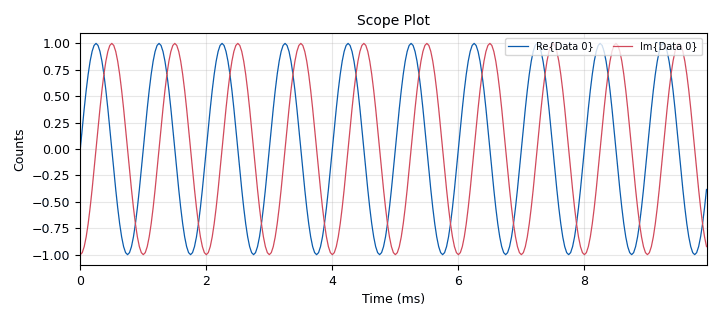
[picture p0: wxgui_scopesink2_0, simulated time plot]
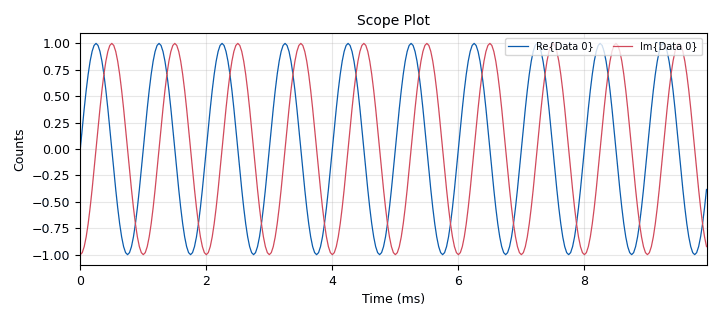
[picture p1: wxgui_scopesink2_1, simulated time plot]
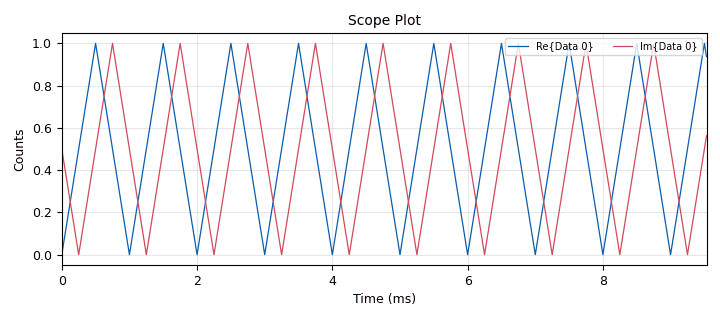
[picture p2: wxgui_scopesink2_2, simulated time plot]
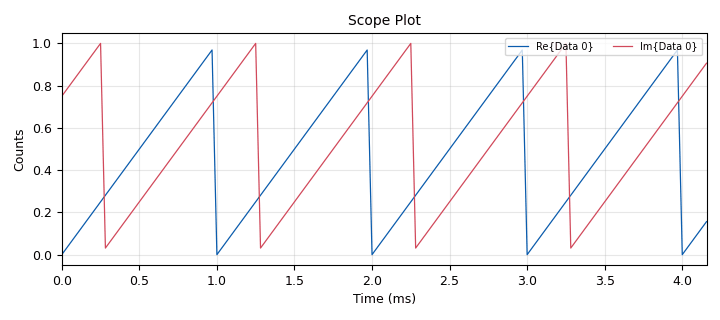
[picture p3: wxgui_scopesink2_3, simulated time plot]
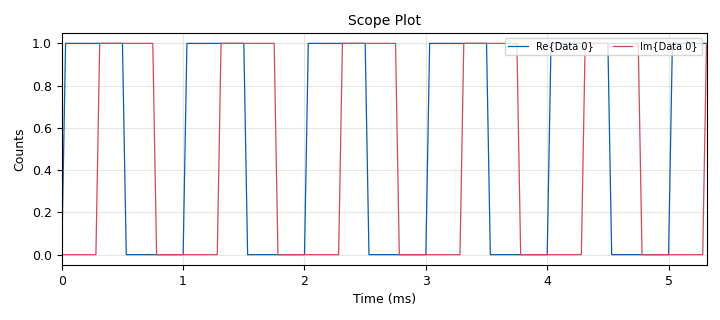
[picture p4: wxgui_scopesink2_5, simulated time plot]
<?xml version='1.0' encoding='utf-8'?>
<?grc format='1' created='3.7.10'?>
<flow_graph>
<block>
<key>options</key>
<param><key>id</key><value>top_block</value></param>
<param><key>generate_options</key><value>wx_gui</value></param>
</block>
<block>
<key>variable</key>
<param><key>id</key><value>samp_rate</value></param>
<param><key>value</key><value>32000</value></param>
</block>
<block>
<key>analog_sig_source_x</key>
<param><key>id</key><value>analog_sig_source_x_0</value></param>
<param><key>amp</key><value>1</value></param>
<param><key>freq</key><value>1000</value></param>
<param><key>offset</key><value>0</value></param>
<param><key>type</key><value>complex</value></param>
<param><key>samp_rate</key><value>samp_rate</value></param>
<param><key>waveform</key><value>analog.GR_COS_WAVE</value></param>
</block>
<block>
<key>analog_sig_source_x</key>
<param><key>id</key><value>analog_sig_source_x_1</value></param>
<param><key>amp</key><value>1</value></param>
<param><key>freq</key><value>1000</value></param>
<param><key>offset</key><value>0</value></param>
<param><key>type</key><value>complex</value></param>
<param><key>samp_rate</key><value>samp_rate</value></param>
<param><key>waveform</key><value>analog.GR_SIN_WAVE</value></param>
</block>
<block>
<key>analog_sig_source_x</key>
<param><key>id</key><value>analog_sig_source_x_2</value></param>
<param><key>amp</key><value>1</value></param>
<param><key>freq</key><value>1000</value></param>
<param><key>offset</key><value>0</value></param>
<param><key>type</key><value>complex</value></param>
<param><key>samp_rate</key><value>samp_rate</value></param>
<param><key>waveform</key><value>analog.GR_CONST_WAVE</value></param>
</block>
<block>
<key>analog_sig_source_x</key>
<param><key>id</key><value>analog_sig_source_x_3</value></param>
<param><key>amp</key><value>1</value></param>
<param><key>freq</key><value>1000</value></param>
<param><key>offset</key><value>0</value></param>
<param><key>type</key><value>complex</value></param>
<param><key>samp_rate</key><value>samp_rate</value></param>
<param><key>waveform</key><value>analog.GR_SQR_WAVE</value></param>
</block>
<block>
<key>analog_sig_source_x</key>
<param><key>id</key><value>analog_sig_source_x_4</value></param>
<param><key>amp</key><value>1</value></param>
<param><key>freq</key><value>1000</value></param>
<param><key>offset</key><value>0</value></param>
<param><key>type</key><value>complex</value></param>
<param><key>samp_rate</key><value>samp_rate</value></param>
<param><key>waveform</key><value>analog.GR_SAW_WAVE</value></param>
</block>
<block>
<key>analog_sig_source_x</key>
<param><key>id</key><value>analog_sig_source_x_5</value></param>
<param><key>amp</key><value>1</value></param>
<param><key>freq</key><value>1000</value></param>
<param><key>offset</key><value>0</value></param>
<param><key>type</key><value>complex</value></param>
<param><key>samp_rate</key><value>samp_rate</value></param>
<param><key>waveform</key><value>analog.GR_TRI_WAVE</value></param>
</block>
<block>
<key>notebook</key>
<param><key>id</key><value>notebook_0</value></param>
<param><key>labels</key><value>['tab1', 'tab2', 'tab3','tab4','tab5','tab6']</value></param>
<param><key>style</key><value>wx.NB_TOP</value></param>
</block>
<block>
<key>wxgui_scopesink2</key>
<param><key>id</key><value>wxgui_scopesink2_0</value></param>
<param><key>ac_couple</key><value>False</value></param>
<param><key>notebook</key><value>notebook_0,1</value></param>
<param><key>num_inputs</key><value>1</value></param>
<param><key>samp_rate</key><value>samp_rate</value></param>
<param><key>t_scale</key><value>0</value></param>
<param><key>title</key><value>Scope Plot</value></param>
<param><key>trig_mode</key><value>wxgui.TRIG_MODE_AUTO</value></param>
<param><key>type</key><value>complex</value></param>
<param><key>v_offset</key><value>0</value></param>
<param><key>v_scale</key><value>0</value></param>
<param><key>xy_mode</key><value>False</value></param>
<param><key>y_axis_label</key><value>Counts</value></param>
</block>
<block>
<key>wxgui_scopesink2</key>
<param><key>id</key><value>wxgui_scopesink2_1</value></param>
<param><key>ac_couple</key><value>False</value></param>
<param><key>notebook</key><value>notebook_0,0</value></param>
<param><key>num_inputs</key><value>1</value></param>
<param><key>samp_rate</key><value>samp_rate</value></param>
<param><key>t_scale</key><value>0</value></param>
<param><key>title</key><value>Scope Plot</value></param>
<param><key>trig_mode</key><value>wxgui.TRIG_MODE_AUTO</value></param>
<param><key>type</key><value>complex</value></param>
<param><key>v_offset</key><value>0</value></param>
<param><key>v_scale</key><value>0</value></param>
<param><key>xy_mode</key><value>False</value></param>
<param><key>y_axis_label</key><value>Counts</value></param>
</block>
<block>
<key>wxgui_scopesink2</key>
<param><key>id</key><value>wxgui_scopesink2_2</value></param>
<param><key>ac_couple</key><value>False</value></param>
<param><key>notebook</key><value>notebook_0,4</value></param>
<param><key>num_inputs</key><value>1</value></param>
<param><key>samp_rate</key><value>samp_rate</value></param>
<param><key>t_scale</key><value>0</value></param>
<param><key>title</key><value>Scope Plot</value></param>
<param><key>trig_mode</key><value>wxgui.TRIG_MODE_AUTO</value></param>
<param><key>type</key><value>complex</value></param>
<param><key>v_offset</key><value>0</value></param>
<param><key>v_scale</key><value>0</value></param>
<param><key>xy_mode</key><value>False</value></param>
<param><key>y_axis_label</key><value>Counts</value></param>
</block>
<block>
<key>wxgui_scopesink2</key>
<param><key>id</key><value>wxgui_scopesink2_3</value></param>
<param><key>ac_couple</key><value>False</value></param>
<param><key>notebook</key><value>notebook_0,5</value></param>
<param><key>num_inputs</key><value>1</value></param>
<param><key>samp_rate</key><value>samp_rate</value></param>
<param><key>t_scale</key><value>0</value></param>
<param><key>title</key><value>Scope Plot</value></param>
<param><key>trig_mode</key><value>wxgui.TRIG_MODE_AUTO</value></param>
<param><key>type</key><value>complex</value></param>
<param><key>v_offset</key><value>0</value></param>
<param><key>v_scale</key><value>0</value></param>
<param><key>xy_mode</key><value>False</value></param>
<param><key>y_axis_label</key><value>Counts</value></param>
</block>
<block>
<key>wxgui_scopesink2</key>
<param><key>id</key><value>wxgui_scopesink2_4</value></param>
<param><key>ac_couple</key><value>False</value></param>
<param><key>notebook</key><value>notebook_0,2</value></param>
<param><key>num_inputs</key><value>1</value></param>
<param><key>samp_rate</key><value>samp_rate</value></param>
<param><key>t_scale</key><value>0</value></param>
<param><key>title</key><value>Scope Plot</value></param>
<param><key>trig_mode</key><value>wxgui.TRIG_MODE_AUTO</value></param>
<param><key>type</key><value>complex</value></param>
<param><key>v_offset</key><value>0</value></param>
<param><key>v_scale</key><value>0</value></param>
<param><key>xy_mode</key><value>False</value></param>
<param><key>y_axis_label</key><value>Counts</value></param>
</block>
<block>
<key>wxgui_scopesink2</key>
<param><key>id</key><value>wxgui_scopesink2_5</value></param>
<param><key>ac_couple</key><value>False</value></param>
<param><key>notebook</key><value>notebook_0,3</value></param>
<param><key>num_inputs</key><value>1</value></param>
<param><key>samp_rate</key><value>samp_rate</value></param>
<param><key>t_scale</key><value>0</value></param>
<param><key>title</key><value>Scope Plot</value></param>
<param><key>trig_mode</key><value>wxgui.TRIG_MODE_AUTO</value></param>
<param><key>type</key><value>complex</value></param>
<param><key>v_offset</key><value>0</value></param>
<param><key>v_scale</key><value>0</value></param>
<param><key>xy_mode</key><value>False</value></param>
<param><key>y_axis_label</key><value>Counts</value></param>
</block>
<connection><source_block_id>analog_sig_source_x_0</source_block_id><sink_block_id>wxgui_scopesink2_1</sink_block_id><source_key>0</source_key><sink_key>0</sink_key></connection>
<connection><source_block_id>analog_sig_source_x_1</source_block_id><sink_block_id>wxgui_scopesink2_0</sink_block_id><source_key>0</source_key><sink_key>0</sink_key></connection>
<connection><source_block_id>analog_sig_source_x_2</source_block_id><sink_block_id>wxgui_scopesink2_4</sink_block_id><source_key>0</source_key><sink_key>0</sink_key></connection>
<connection><source_block_id>analog_sig_source_x_3</source_block_id><sink_block_id>wxgui_scopesink2_5</sink_block_id><source_key>0</source_key><sink_key>0</sink_key></connection>
<connection><source_block_id>analog_sig_source_x_4</source_block_id><sink_block_id>wxgui_scopesink2_3</sink_block_id><source_key>0</source_key><sink_key>0</sink_key></connection>
<connection><source_block_id>analog_sig_source_x_5</source_block_id><sink_block_id>wxgui_scopesink2_2</sink_block_id><source_key>0</source_key><sink_key>0</sink_key></connection>
</flow_graph>
